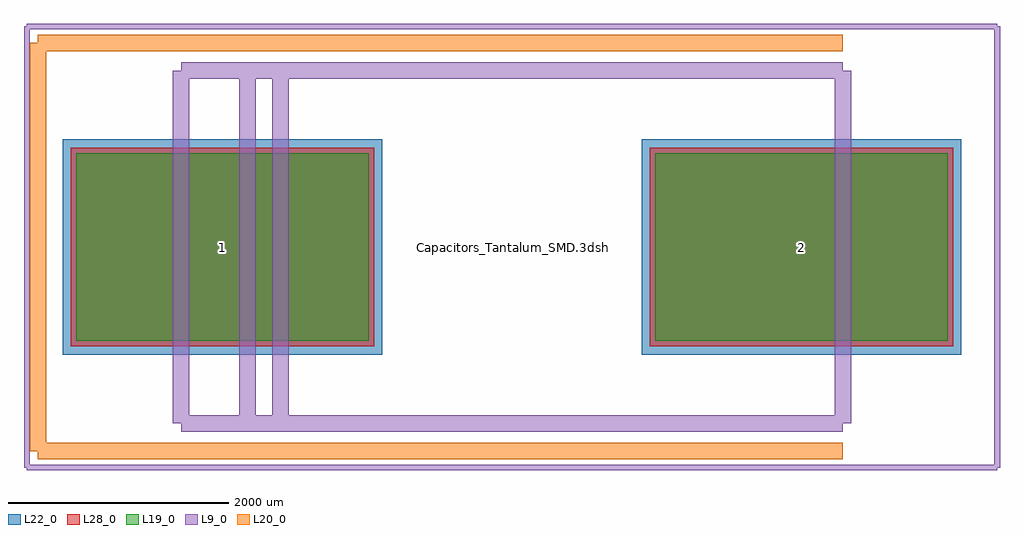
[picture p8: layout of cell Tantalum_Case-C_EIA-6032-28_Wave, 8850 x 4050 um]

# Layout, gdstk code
import gdstk
lib = gdstk.Library(unit=1e-6, precision=1e-09)
def R(c, l, rs):  # rectangles x0, y0, x1, y1
    for r in rs: c.add(gdstk.rectangle(r[:2], r[2:], *l))
L9_0 = (9, 0)
L19_0 = (19, 0)
L20_0 = (20, 0)
L22_0 = (22, 0)
L28_0 = (28, 0)

tantalum_case_c_eia_6032 = lib.new_cell('Tantalum_Case-C_EIA-6032-28_Wave')
R(tantalum_case_c_eia_6032, L19_0, [(-3950,-850,-1300,850), (1300,-850,3950,850)])
R(tantalum_case_c_eia_6032, L22_0, [(-4075,-975,-1175,975), (1175,-975,4075,975)])
R(tantalum_case_c_eia_6032, L28_0, [(-4000,-900,-1250,900), (1250,-900,4000,900)])
tantalum_case_c_eia_6032.add(gdstk.FlexPath([(-4300,1850),(-4300,-1850)], 149.998, ends="flush", simple_path=True, layer=20, datatype=0))  # L20_0
tantalum_case_c_eia_6032.add(gdstk.FlexPath([(-4300,-1850),(3000,-1850)], 149.998, ends="flush", simple_path=True, layer=20, datatype=0))  # L20_0
tantalum_case_c_eia_6032.add(gdstk.FlexPath([(-4300,1850),(3000,1850)], 149.998, ends="flush", simple_path=True, layer=20, datatype=0))  # L20_0
tantalum_case_c_eia_6032.add(gdstk.FlexPath([(-2100,1600),(-2100,-1600)], 149.998, ends="flush", simple_path=True, layer=9, datatype=0))  # L9_0
tantalum_case_c_eia_6032.add(gdstk.FlexPath([(-2400,1600),(-2400,-1600)], 149.998, ends="flush", simple_path=True, layer=9, datatype=0))  # L9_0
tantalum_case_c_eia_6032.add(gdstk.FlexPath([(3000,1600),(-3000,1600)], 149.998, ends="flush", simple_path=True, layer=9, datatype=0))  # L9_0
tantalum_case_c_eia_6032.add(gdstk.FlexPath([(3000,-1600),(3000,1600)], 149.998, ends="flush", simple_path=True, layer=9, datatype=0))  # L9_0
tantalum_case_c_eia_6032.add(gdstk.FlexPath([(-3000,-1600),(3000,-1600)], 149.998, ends="flush", simple_path=True, layer=9, datatype=0))  # L9_0
tantalum_case_c_eia_6032.add(gdstk.FlexPath([(-3000,1600),(-3000,-1600)], 149.998, ends="flush", simple_path=True, layer=9, datatype=0))  # L9_0
tantalum_case_c_eia_6032.add(gdstk.FlexPath([(4400,2000),(-4400,2000)], 50, ends="flush", simple_path=True, layer=9, datatype=0))  # L9_0
tantalum_case_c_eia_6032.add(gdstk.FlexPath([(4400,-2000),(4400,2000)], 50, ends="flush", simple_path=True, layer=9, datatype=0))  # L9_0
tantalum_case_c_eia_6032.add(gdstk.FlexPath([(-4400,-2000),(4400,-2000)], 50, ends="flush", simple_path=True, layer=9, datatype=0))  # L9_0
tantalum_case_c_eia_6032.add(gdstk.FlexPath([(-4400,2000),(-4400,-2000)], 50, ends="flush", simple_path=True, layer=9, datatype=0))  # L9_0
tantalum_case_c_eia_6032.add(gdstk.Label('Capacitors_Tantalum_SMD.3dshapes/Tantalum_Case-C_EIA-6032-28.wrl', (0,0), layer=12, texttype=0))
tantalum_case_c_eia_6032.add(gdstk.Label('2', (2625,0), layer=28, texttype=0))
tantalum_case_c_eia_6032.add(gdstk.Label('1', (-2625,0), layer=28, texttype=0))
tantalum_case_c_eia_6032.add(gdstk.Label('type', (0,-3350), layer=9, texttype=0))
tantalum_case_c_eia_6032.add(gdstk.Label('devicename', (0,3350), layer=9, texttype=0))

lib.write_gds('Tantalum_Case-C_EIA-6032-28_Wave.gds')
